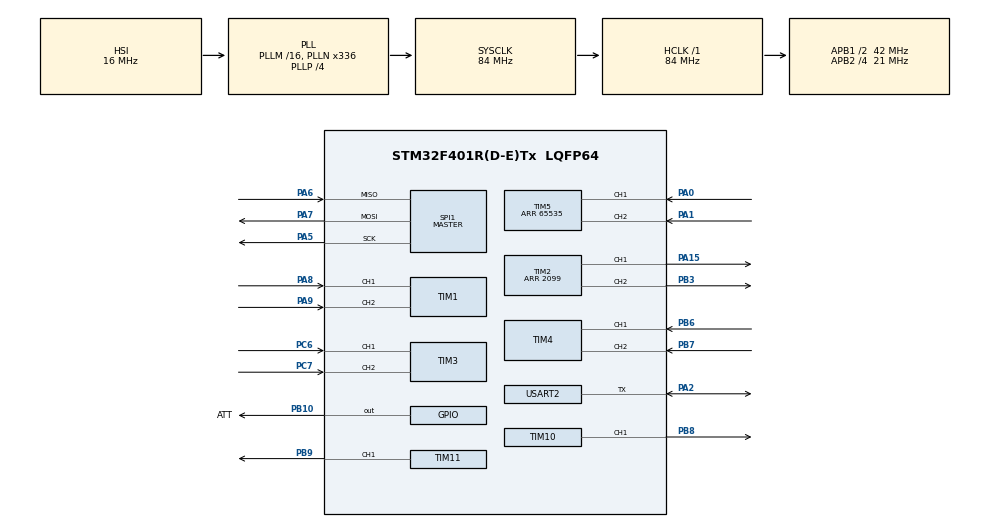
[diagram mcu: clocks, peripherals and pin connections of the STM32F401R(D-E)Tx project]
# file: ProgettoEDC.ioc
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Mcu.Family=STM32F4
Mcu.Name=STM32F401R(D-E)Tx
Mcu.Package=LQFP64
NVIC.PriorityGroup=NVIC_PRIORITYGROUP_0
NVIC.TIM1_BRK_TIM9_IRQn=true\:0\:0\:false\:false\:true\:true\:true\:true
PA0-WKUP.Signal=S_TIM5_CH1
PA1.Signal=S_TIM5_CH2
PA15.Signal=S_TIM2_CH1_ETR
PA2.Mode=Half_duplex(single_wire_mode)
PA2.Signal=USART2_TX
PA5.Mode=Full_Duplex_Master
PA5.Signal=SPI1_SCK
PA6.Mode=Full_Duplex_Master
PA6.Signal=SPI1_MISO
PA7.Mode=Full_Duplex_Master
PA7.Signal=SPI1_MOSI
PA8.Signal=S_TIM1_CH1
PA9.Signal=S_TIM1_CH2
PB10.GPIO_Label=ATT
PB10.Signal=GPIO_Output
PB3.Signal=S_TIM2_CH2
PB6.Signal=S_TIM4_CH1
PB7.Signal=S_TIM4_CH2
PB8.Signal=S_TIM10_CH1
PB9.Signal=S_TIM11_CH1
PC6.Signal=S_TIM3_CH1
PC7.Signal=S_TIM3_CH2
ProjectManager.HeapSize=0x200
ProjectManager.StackSize=0x400
ProjectManager.TargetToolchain=STM32CubeIDE
RCC.48MHZClocksFreq_Value=48000000
RCC.AHBFreq_Value=84000000
RCC.APB1CLKDivider=RCC_HCLK_DIV2
RCC.APB1Freq_Value=42000000
RCC.APB1TimFreq_Value=84000000
RCC.APB2CLKDivider=RCC_HCLK_DIV4
RCC.APB2Freq_Value=21000000
RCC.APB2TimFreq_Value=42000000
RCC.CortexFreq_Value=84000000
RCC.HCLKFreq_Value=84000000
RCC.HSE_VALUE=8000000
RCC.HSI_VALUE=16000000
RCC.LSE_VALUE=32768
RCC.PLLN=336
RCC.PLLP=RCC_PLLP_DIV4
RCC.PLLQ=7
RCC.SYSCLKFreq_VALUE=84000000
RCC.SYSCLKSource=RCC_SYSCLKSOURCE_PLLCLK
RCC.VCOOutputFreq_Value=336000000
SH.S_TIM10_CH1.0=TIM10_CH1,PWM Generation1 CH1
SH.S_TIM11_CH1.0=TIM11_CH1,PWM Generation1 CH1
SH.S_TIM1_CH1.0=TIM1_CH1,Encoder_Interface
SH.S_TIM1_CH2.0=TIM1_CH2,Encoder_Interface
SH.S_TIM2_CH1_ETR.0=TIM2_CH1,PWM Generation1 CH1
SH.S_TIM2_CH2.0=TIM2_CH2,PWM Generation2 CH2
SH.S_TIM3_CH1.0=TIM3_CH1,Encoder_Interface
SH.S_TIM3_CH2.0=TIM3_CH2,Encoder_Interface
SH.S_TIM4_CH1.0=TIM4_CH1,Encoder_Interface
SH.S_TIM4_CH2.0=TIM4_CH2,Encoder_Interface
SH.S_TIM5_CH1.0=TIM5_CH1,Encoder_Interface
SH.S_TIM5_CH2.0=TIM5_CH2,Encoder_Interface
SPI1.BaudRatePrescaler=SPI_BAUDRATEPRESCALER_256
SPI1.CLKPhase=SPI_PHASE_2EDGE
SPI1.CLKPolarity=SPI_POLARITY_HIGH
SPI1.Direction=SPI_DIRECTION_2LINES
SPI1.FirstBit=SPI_FIRSTBIT_LSB
SPI1.Mode=SPI_MODE_MASTER
SPI1.VirtualType=VM_MASTER
TIM1.EncoderMode=TIM_ENCODERMODE_TI12
TIM10.Channel=TIM_CHANNEL_1
TIM10.Period=1049
TIM10.Prescaler=0
TIM11.Channel=TIM_CHANNEL_1
TIM11.Period=1049
TIM2.Channel-PWM\ Generation1\ CH1=TIM_CHANNEL_1
TIM2.Channel-PWM\ Generation2\ CH2=TIM_CHANNEL_2
TIM2.Period=2099
TIM3.EncoderMode=TIM_ENCODERMODE_TI12
TIM4.EncoderMode=TIM_ENCODERMODE_TI12
TIM5.EncoderMode=TIM_ENCODERMODE_TI12
TIM5.Period=65535
TIM9.Period=49
TIM9.Prescaler=4199
USART2.BaudRate=115200
USART2.VirtualMode=VM_ASYNC
VP_TIM10_VS_ClockSourceINT.Mode=Enable_Timer
VP_TIM11_VS_ClockSourceINT.Mode=Enable_Timer
VP_TIM9_VS_ClockSourceINT.Mode=Internal
board=NUCLEO-F401RE

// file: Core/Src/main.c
/* USER CODE BEGIN Header */
/**
  ******************************************************************************
  * @file           : main.c
  * @brief          : Main program body
  ******************************************************************************
  * @attention
  *
  * Copyright (c) 2024 STMicroelectronics.
  * All rights reserved.
  *
  * This software is licensed under terms that can be found in the LICENSE file
  * in the root directory of this software component.
  * If no LICENSE file comes with this software, it is provided AS-IS.
  *
  ******************************************************************************
  */
/* USER CODE END Header */
#include "main.h"
#include "spi.h"
#include "tim.h"
#include "usart.h"
#include "gpio.h"

/* USER CODE BEGIN Includes */
#include "PSX_Controller.h"
#include <string.h>
#include <stdio.h>
#include <stdlib.h>
#include <math.h>
#include "logging.h"
#include "encoder.h"
#include "pid.h"

extern uint8_t PSX_Rx_Buffer[9];
controller_t PSX;

circular_buffer_t myBuff;
record_t r;

double Ts = 0.005;
int cycleduration;
uint32_t ticControlStep;
uint32_t tocControlStep;
uint32_t controlComputationDuration;
uint32_t k_controller = -1;
int samplingPrescaler = 4;
int samplingPrescalerCounter = 0;

encoder_t encoder_RF;
encoder_t encoder_LF;
encoder_t encoder_RR;
encoder_t encoder_LR;

PID_t pid_RF;
PID_t pid_LF;
PID_t pid_RR;
PID_t pid_LR;
PID_t pid_FAx;
PID_t pid_RAx;

double lastTicks = 0;
double currentTicks = 0;

int8_t barrier;

uint8_t prec_MOD=0;
uint8_t prec_X=0;
double last_setpoint=0.0;
uint8_t ASC =0;

/* USER CODE END Includes */

/* USER CODE BEGIN PD */
#define WAITING 2

/* USER CODE END PD */

void SystemClock_Config(void);

int main(void)
{

  /* MCU Configuration--------------------------------------------------------*/

  /* Reset of all peripherals, Initializes the Flash interface and the Systick. */
  HAL_Init();

  /* USER CODE BEGIN Init */

  size_t bufferSize = (size_t)ceil(2 / (Ts * samplingPrescaler));
  cb_init(&myBuff, bufferSize, sizeof(record_t));

  /* USER CODE END Init */

  /* Configure the system clock */
  SystemClock_Config();

  /* Initialize all configured peripherals */
  MX_GPIO_Init();
  MX_SPI1_Init();
  MX_USART2_UART_Init();
  MX_TIM10_Init();
  MX_TIM1_Init();
  MX_TIM2_Init();
  MX_TIM3_Init();
  MX_TIM4_Init();
  MX_TIM5_Init();
  MX_TIM11_Init();
  MX_TIM9_Init();
  /* USER CODE BEGIN 2 */
  PSX_Init();

  HAL_TIM_Base_Start(&htim1);
  HAL_TIM_Base_Start(&htim3);
  HAL_TIM_Base_Start(&htim4);
  HAL_TIM_Base_Start(&htim5);
  HAL_TIM_PWM_Start(&htim2, TIM_CHANNEL_1);
  HAL_TIM_PWM_Start(&htim2, TIM_CHANNEL_2);
  HAL_TIM_PWM_Start(&htim11, TIM_CHANNEL_1);
  HAL_TIM_PWM_Start(&htim10, TIM_CHANNEL_1);
  HAL_TIM_Base_Start_IT(&htim9);

  /*
   * PI's structs initialization
   */
  PID_Init(&pid_RF,0.054164,0.0071, 0);
  PID_Init(&pid_LF,0.059952,0.0067, 0);
  PID_Init(&pid_RR,0.066368,0.0075, 0);
  PID_Init(&pid_LR,0.056354,0.0069, 0);

  PID_Init(&pid_FAx,0.059952,0.0067, 0);
  PID_Init(&pid_RAx,0.056354,0.0069, 0);

  /*
   * Encoder's structs initialization
   */
  encoder_init(&encoder_RF,&htim1);
  encoder_init(&encoder_LF,&htim4);
  encoder_init(&encoder_RR,&htim3);
  encoder_init(&encoder_LR,&htim5);

  __HAL_TIM_SET_COMPARE(&htim2, TIM_CHANNEL_1, 1975);
  __HAL_TIM_SET_COMPARE(&htim2, TIM_CHANNEL_2, 1975);
  __HAL_TIM_SET_COMPARE(&htim11, TIM_CHANNEL_1, 1975);
  __HAL_TIM_SET_COMPARE(&htim10, TIM_CHANNEL_1, 1975);

  /* USER CODE END 2 */

  /* Infinite loop */
  /* USER CODE BEGIN WHILE */
  while (1)
  {
	  // Set up the barrier
	  barrier = 0;

	  /*
	   * Save prec states of various variables
	   */
	  prec_MOD = PSX.PSX_MOD;
	  prec_X = PSX.PSX_X;
	  last_setpoint = PSX.speed;

	  /*
	   * Read the PS2 Controller's output
	   */
	  DATA_DIGEST(PSX_Rx_Buffer);

	  /*
	   * Set references for all the PI controllers
	   */
	  pid_RF.setpoint = PSX.speed;
      pid_LF.setpoint = PSX.speed;
	  pid_RR.setpoint = PSX.speed;
	  pid_LR.setpoint = PSX.speed;
	  pid_FAx.setpoint = 0.0;
  	  pid_RAx.setpoint = 0.0;

  	  /*
  	   * Check for MOD change or ASC enable/disable command from the PS2 Controller
  	   */
  	  if(prec_MOD != PSX.PSX_MOD){
  		switchKcontrol (&pid_RF, &pid_LF, &pid_RR, &pid_LR, &pid_FAx, &pid_RAx);
  	  }

  	  /*
  	   * Stop here until the CALLBACK function does not change the value of barrier
  	   */
	  while(!barrier);

	  /*
	   * Print the collected data
	   */
	  size_t nEntriesToSend = myBuff.count; 					//number of samples not read yet
	  record_t retrieved; 										//buffer entry

	  for (size_t count = 0; count < nEntriesToSend; count++) {
	 		  cb_pop_front(&myBuff, &retrieved); 				//take entry from the buffer

	 		  printf("RF: %f, %f LF: %f, %f RR: %f, %f LR: %f, %f FAx: %f, %f RAx: %f, %f\n\r",
	 				  retrieved.current_u_rf, retrieved.current_y_rf, retrieved.current_u_lf, retrieved.current_y_lf,
	 				  retrieved.current_u_rr, retrieved.current_y_rr, retrieved.current_u_lr, retrieved.current_y_lr,
	 				  retrieved.current_u_rax, retrieved.current_y_rax, retrieved.current_u_fax, retrieved.current_y_fax); // Comment this line out to avoid printing the axle values

	 		  /*printf("RF: %f  LF: %f  RR: %f  LR: %f   Ref: %f\n\r",
	 				  retrieved.current_y_rf, retrieved.current_y_lf,
	 				  retrieved.current_y_rr, retrieved.current_y_lr, PSX.speed);*/
	  }

    /* USER CODE END WHILE */

  }
}

void SystemClock_Config(void)
{
  RCC_OscInitTypeDef RCC_OscInitStruct = {0};
  RCC_ClkInitTypeDef RCC_ClkInitStruct = {0};

  /** Configure the main internal regulator output voltage
  */
  __HAL_RCC_PWR_CLK_ENABLE();
  __HAL_PWR_VOLTAGESCALING_CONFIG(PWR_REGULATOR_VOLTAGE_SCALE2);

  /** Initializes the RCC Oscillators according to the specified parameters
  * in the RCC_OscInitTypeDef structure.
  */
  RCC_OscInitStruct.OscillatorType = RCC_OSCILLATORTYPE_HSI;
  RCC_OscInitStruct.HSIState = RCC_HSI_ON;
  RCC_OscInitStruct.HSICalibrationValue = RCC_HSICALIBRATION_DEFAULT;
  RCC_OscInitStruct.PLL.PLLState = RCC_PLL_ON;
  RCC_OscInitStruct.PLL.PLLSource = RCC_PLLSOURCE_HSI;
  RCC_OscInitStruct.PLL.PLLM = 16;
  RCC_OscInitStruct.PLL.PLLN = 336;
  RCC_OscInitStruct.PLL.PLLP = RCC_PLLP_DIV4;
  RCC_OscInitStruct.PLL.PLLQ = 7;
  if (HAL_RCC_OscConfig(&RCC_OscInitStruct) != HAL_OK)
  {
    Error_Handler();
  }

  /** Initializes the CPU, AHB and APB buses clocks
  */
  RCC_ClkInitStruct.ClockType = RCC_CLOCKTYPE_HCLK|RCC_CLOCKTYPE_SYSCLK
                              |RCC_CLOCKTYPE_PCLK1|RCC_CLOCKTYPE_PCLK2;
  RCC_ClkInitStruct.SYSCLKSource = RCC_SYSCLKSOURCE_PLLCLK;
  RCC_ClkInitStruct.AHBCLKDivider = RCC_SYSCLK_DIV1;
  RCC_ClkInitStruct.APB1CLKDivider = RCC_HCLK_DIV2;
  RCC_ClkInitStruct.APB2CLKDivider = RCC_HCLK_DIV4;

  if (HAL_RCC_ClockConfig(&RCC_ClkInitStruct, FLASH_LATENCY_2) != HAL_OK)
  {
    Error_Handler();
  }
}

/* USER CODE BEGIN 4 */

void HAL_TIM_PeriodElapsedCallback(TIM_HandleTypeDef *htim)
{
	if (htim->Instance== TIM9) {
		/*
		 * Collect first timestamp (in ticks)
		 */
		k_controller = k_controller + 1;
		if (k_controller == 0) {
			ticControlStep = HAL_GetTick();
		}
		tocControlStep = HAL_GetTick();

		/* READING PHASE */
		//Encoder Right Front
		encoder_RF.current_tick = (double) __HAL_TIM_GET_COUNTER(&htim1);
		encoder_RF.speed = getSpeedByDelta(getTicksDelta(encoder_RF.current_tick, encoder_RF.last_tick, Ts), Ts);
		encoder_RF.last_tick = encoder_RF.current_tick;

		//Encoder Left Front
		encoder_LF.current_tick = (double) __HAL_TIM_GET_COUNTER(&htim4);
		encoder_LF.speed = getSpeedByDelta(getTicksDelta(encoder_LF.current_tick, encoder_LF.last_tick, Ts), Ts);
		encoder_LF.last_tick = encoder_LF.current_tick;

		//Encoder Right Rear
		encoder_RR.current_tick = (double) __HAL_TIM_GET_COUNTER(&htim3); //take current value of ticks counting the encoder edges
		encoder_RR.speed = getSpeedByDelta(getTicksDelta(encoder_RR.current_tick, encoder_RR.last_tick, Ts), Ts);
		encoder_RR.last_tick = encoder_RR.current_tick;

		//Encoder Left Rear
		encoder_LR.current_tick = (double) __HAL_TIM_GET_COUNTER(&htim5); //take current value of ticks counting the encoder edges
		encoder_LR.speed = getSpeedByDelta(getTicksDelta(encoder_LR.current_tick, encoder_LR.last_tick, Ts), Ts);
		encoder_LR.last_tick = encoder_LR.current_tick;

		/* COMPUTING PHASE */
		PID_Compute(&pid_RF, encoder_RF.speed);									// Compute Front Right PI output
		PID_Compute(&pid_LF, encoder_LF.speed);									// Compute Front Left PI output

		PID_Compute(&pid_RR, encoder_RR.speed);									// Compute Rear Right PI output
		PID_Compute(&pid_LR, encoder_LR.speed);									// Compute Rear Left PI output

		PID_Compute(&pid_FAx, encoder_LF.speed-encoder_RF.speed);				// Compute Front Axle PI output
		PID_Compute(&pid_RAx, encoder_LR.speed-encoder_RR.speed);				// Compute Rear Axle PI output

		/* SENDING PHASE */

		PWM_generate(pid_RF.u, &htim2, TIM_CHANNEL_1);							// Send Front Right PWM wave
		PWM_generate(pid_LF.u+pid_FAx.u, &htim2, TIM_CHANNEL_2);				// Send Front Left PWM wave

		PWM_generate(pid_RR.u, &htim11, TIM_CHANNEL_1);							// Send Rear Right PWM wave
		PWM_generate(pid_LR.u+pid_RAx.u, &htim10, TIM_CHANNEL_1);				// Send Rear Left PWM wave

		/* SENDING PHASE WITHOUT PI CONTROLLERS */
/*
		PWM_generate(rpm_to_voltage(PSX.speed), &htim11, TIM_CHANNEL_1);
		PWM_generate(rpm_to_voltage(PSX.speed), &htim10, TIM_CHANNEL_1);
		PWM_generate(rpm_to_voltage(PSX.speed), &htim2, TIM_CHANNEL_2);
		PWM_generate(rpm_to_voltage(PSX.speed), &htim2, TIM_CHANNEL_1);
*/

		/*
		 * Collect second timestamp (in ticks)
		 */
		controlComputationDuration = HAL_GetTick() - tocControlStep;
		/*
		 * Collect data
		 */
		r.current_u_rf = pid_RF.u;
		r.current_y_rf = encoder_RF.speed;
		r.current_u_lf = pid_LF.u;
		r.current_y_lf = encoder_LF.speed;
		r.current_u_rr = pid_RR.u;
		r.current_y_rr = encoder_RR.speed;
		r.current_u_lr = pid_LR.u;
		r.current_y_lr = encoder_LR.speed;
		r.current_u_fax = pid_FAx.u;
		r.current_y_fax = encoder_RF.speed-encoder_LF.speed;
		r.current_u_rax = pid_RAx.u;
		r.current_y_rax = encoder_RR.speed-encoder_LR.speed;
		r.cycleCoreDuration = controlComputationDuration;
		r.cycleBeginDelay = tocControlStep - ticControlStep - (k_controller * Ts * 1000);
		r.currentTimestamp = HAL_GetTick();

		/*
		 * Insert data into the buffer
		 */
		if (samplingPrescalerCounter == (samplingPrescaler - 1)) {
			cb_push_back(&myBuff, &r);
			samplingPrescalerCounter = -1;
		}
		samplingPrescalerCounter++;

		/*
		 * Release the barrier
		 */
		barrier = 1;
	}
}

/* USER CODE END 4 */

void Error_Handler(void)
{
  __disable_irq();
  while (1)
  {
  }
}
